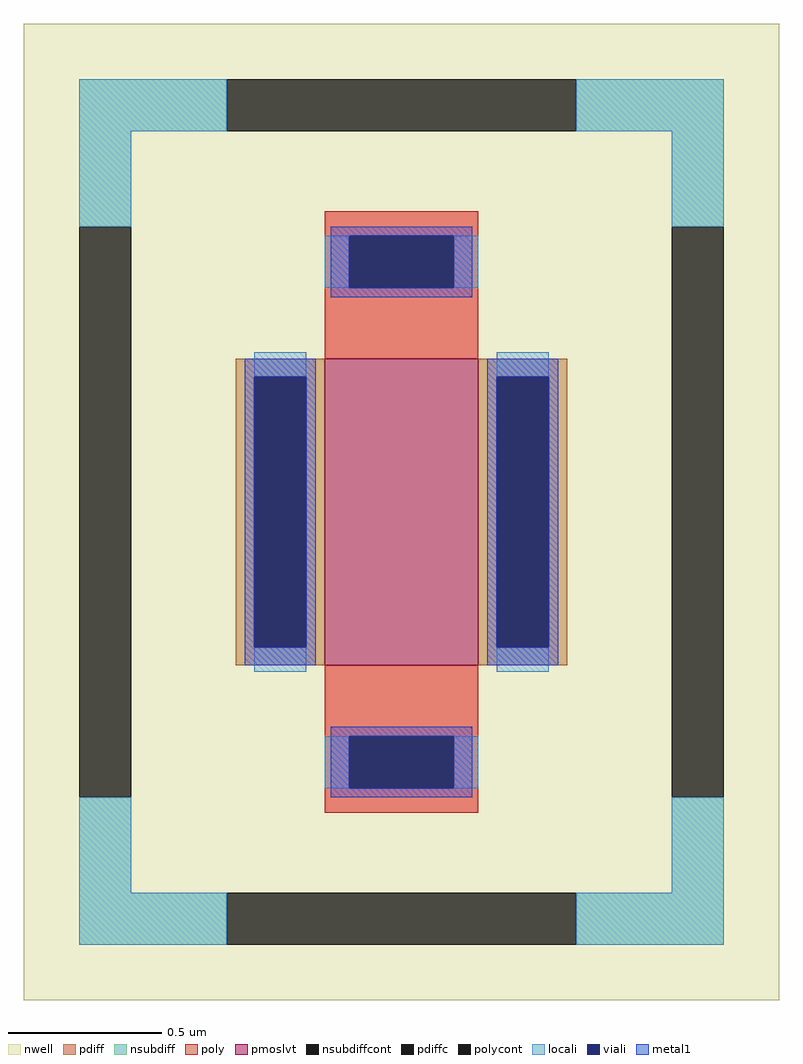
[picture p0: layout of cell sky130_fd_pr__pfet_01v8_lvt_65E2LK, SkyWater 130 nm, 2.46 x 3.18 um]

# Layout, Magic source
magic
tech sky130A
magscale 1 2
<< nwell >>
rect -246 -318 246 318
<< pmoslvt >>
rect -50 -100 50 100
<< pdiff >>
rect -108 88 -50 100
rect -108 -88 -96 88
rect -62 -88 -50 88
rect -108 -100 -50 -88
rect 50 88 108 100
rect 50 -88 62 88
rect 96 -88 108 88
rect 50 -100 108 -88
<< pdiffc >>
rect -96 -88 -62 88
rect 62 -88 96 88
<< nsubdiff >>
rect -210 248 -114 282
rect 114 248 210 282
rect -210 186 -176 248
rect 176 186 210 248
rect -210 -248 -176 -186
rect 176 -248 210 -186
rect -210 -282 -114 -248
rect 114 -282 210 -248
<< nsubdiffcont >>
rect -114 248 114 282
rect -210 -186 -176 186
rect 176 -186 210 186
rect -114 -282 114 -248
<< poly >>
rect -50 180 50 196
rect -50 146 -34 180
rect 34 146 50 180
rect -50 100 50 146
rect -50 -146 50 -100
rect -50 -180 -34 -146
rect 34 -180 50 -146
rect -50 -196 50 -180
<< polycont >>
rect -34 146 34 180
rect -34 -180 34 -146
<< locali >>
rect -210 248 -114 282
rect 114 248 210 282
rect -210 186 -176 248
rect 176 186 210 248
rect -50 146 -34 180
rect 34 146 50 180
rect -96 88 -62 104
rect -96 -104 -62 -88
rect 62 88 96 104
rect 62 -104 96 -88
rect -50 -180 -34 -146
rect 34 -180 50 -146
rect -210 -248 -176 -186
rect 176 -248 210 -186
rect -210 -282 -114 -248
rect 114 -282 210 -248
<< viali >>
rect -34 146 34 180
rect -96 -88 -62 88
rect 62 -88 96 88
rect -34 -180 34 -146
<< metal1 >>
rect -46 180 46 186
rect -46 146 -34 180
rect 34 146 46 180
rect -46 140 46 146
rect -102 88 -56 100
rect -102 -88 -96 88
rect -62 -88 -56 88
rect -102 -100 -56 -88
rect 56 88 102 100
rect 56 -88 62 88
rect 96 -88 102 88
rect 56 -100 102 -88
rect -46 -146 46 -140
rect -46 -180 -34 -146
rect 34 -180 46 -146
rect -46 -186 46 -180
<< properties >>
string FIXED_BBOX -192 -266 192 266
string gencell sky130_fd_pr__pfet_01v8_lvt
string library sky130
string parameters w 1 l 0.5 m 1 nf 1 diffcov 100 polycov 100 guard 1 glc 1 grc 1 gtc 1 gbc 1 tbcov 100 rlcov 100 topc 1 botc 1 poverlap 1 doverlap 1 lmin 0.35 wmin 0.42 compatible {sky130_fd_pr__pfet_01v8  sky130_fd_pr__pfet_01v8_lvt sky130_fd_pr__pfet_01v8_hvt  sky130_fd_pr__pfet_g5v0d10v5} full_metal 1 viasrc 100 viadrn 100 viagate 100 viagb 0 viagr 0 viagl 0 viagt 0
<< end >>
